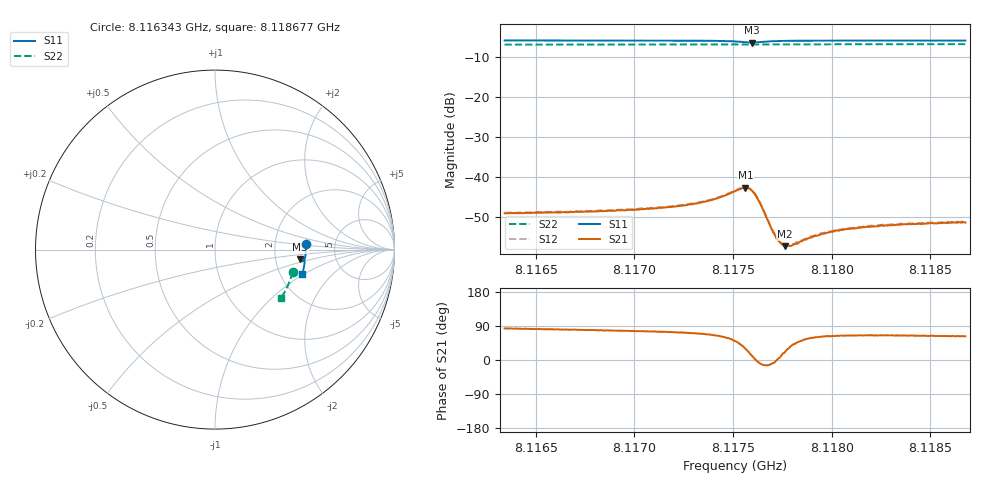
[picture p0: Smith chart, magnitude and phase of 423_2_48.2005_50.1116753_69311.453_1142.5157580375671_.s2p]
#  HZ  S  RI  R  50.00
! Rohde & Schwarz Vector Network Analyzer
! Rohde-Schwarz,ZNB20-2Port,1311601062101988,3.16
! Created: UTC 3/20/2024, 11:55:01 AM
! freq[Hz]  re:S11  im:S11  re:S21  im:S21  re:S12  im:S12  re:S22  im:S22
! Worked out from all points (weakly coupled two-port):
!   401 points, 8.116343 GHz to 8.118677 GHz, reference 50 ohm
!   highest |S21| = -42.59 dB at 8.117563 GHz (marker M1); lowest = -57.2 dB at 8.117761 GHz (marker M2)
!   lowest |S11| = -6.4 dB at 8.117598 GHz (marker M3), VSWR 2.83, Z = 139 - j19.2 ohm
!   |S11| at or under -10 dB: nowhere
!   |S22| runs from -6.9 to -6.8 dB; largest |S21 - S12| = 0.0002
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8.1163427e9  0.5061 0.033  0.000407 0.00354  0.000451 0.00358  0.4322 -0.1243
8.1167338e9  0.5065 0.00327  0.00067 0.00367  0.000749 0.00372  0.4249 -0.1505
8.1171248e9  0.5048 -0.0274  0.00112 0.00402  0.00117 0.00407  0.4159 -0.1764
8.1172532e9  0.5033 -0.0385  0.00139 0.00425  0.00146 0.00431  0.4126 -0.1848
8.1173641e9  0.5008 -0.0488  0.00187 0.00465  0.00197 0.00473  0.4095 -0.1919
8.11744e9  0.4973 -0.0566  0.00265 0.00505  0.00275 0.00512  0.4072 -0.1969
8.11751e9  0.4893 -0.0636  0.00429 0.00519  0.00441 0.00523  0.405 -0.2015
8.1175626e9  0.4784 -0.0622  0.00641 0.00374  0.00654 0.00376  0.4032 -0.2045
8.1175801e9  0.4757 -0.0583  0.00681 0.00253  0.00698 0.00252  0.4025 -0.2052
8.1175976e9  0.4751 -0.0533  0.00667 0.00119  0.00682 0.00114  0.402 -0.2061
8.1176326e9  0.4814 -0.0464  0.00494 -0.000666  0.00506 -0.000658  0.4014 -0.2079
8.1176968e9  0.4937 -0.0502  0.0022 -0.000378  0.00224 -0.000414  0.4 -0.2121
8.1177143e9  0.4953 -0.0526  0.00185 -0.000126  0.00188 -0.000174  0.3997 -0.2134
8.1177435e9  0.4972 -0.0563  0.00147 0.000291  0.00149 0.000296  0.3989 -0.215
8.117761e9  0.4977 -0.0585  0.00131 0.00046  0.00137 0.000535  0.3982 -0.2163
8.1177785e9  0.4983 -0.0605  0.00123 0.000691  0.00123 0.000682  0.3978 -0.2175
8.1178019e9  0.4988 -0.0632  0.00109 0.00092  0.00114 0.000909  0.3972 -0.2191
8.1179011e9  0.4988 -0.0732  0.00093 0.00152  0.000955 0.0016  0.394 -0.2254
8.117977e9  0.4983 -0.08  0.000907 0.00182  0.000997 0.00185  0.3916 -0.2301
8.1180762e9  0.497 -0.0883  0.000981 0.00205  0.00097 0.00204  0.3882 -0.2362
8.1182921e9  0.4939 -0.1051  0.00107 0.00229  0.00114 0.00231  0.3805 -0.2494
8.1186773e9  0.4868 -0.1337  0.00126 0.00242  0.0013 0.00247  0.366 -0.2722
